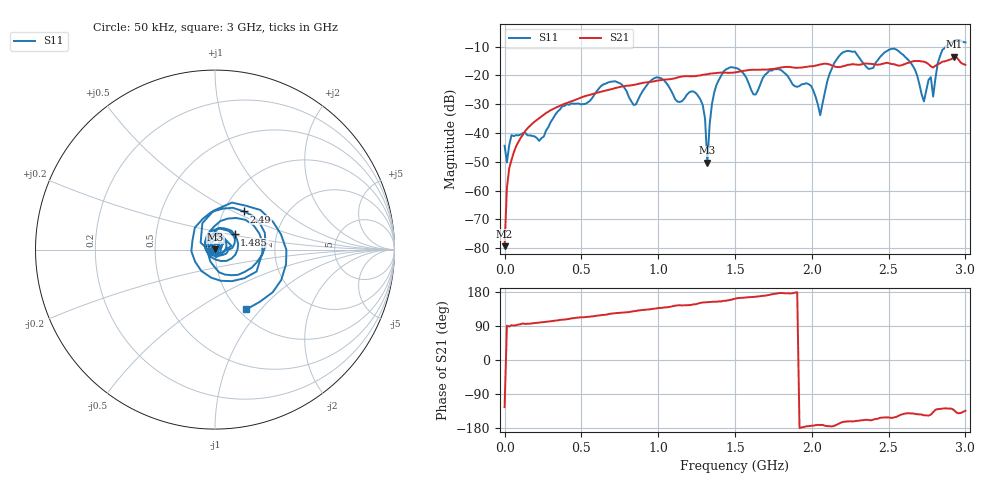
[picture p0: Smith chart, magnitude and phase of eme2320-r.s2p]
!File created by NanoVNA-F V2
# Hz S RI R 50
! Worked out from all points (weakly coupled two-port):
!   201 points, 50 kHz to 3 GHz, reference 50 ohm
!   highest |S21| = -13.50 dB at 2.925 GHz (marker M1); lowest = -79.3 dB at 50 kHz (marker M2)
!   lowest |S11| = -50.3 dB at 1.32 GHz (marker M3), VSWR 1.01, Z = 50.2 + j0.23 ohm
!   |S11| at or under -10 dB: start of sweep to 2.872 GHz
!   S12 and S22 are empty: the file has one direction only
!   S11 on the Smith chart (normalised r, x): 50 kHz: 0.99, -0.01; 1.485 GHz: 1.23, +0.21; 2.49 GHz: 1.24, +0.57; 3 GHz: 1.08, -0.84
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50000  -0.00449 -0.00398  -6.1e-05 -8.9e-05  0 0  0 0
1.504975e7  0.000794 0.00297  -1.1e-05 0.00112  0 0  0 0
7.504875e7  0.00849 0.00356  -0.000204 0.00589  0 0  0 0
5.100415e8  0.0178 -0.0263  -0.0163 0.0393  0 0  0 0
1.005033e9  0.0299 0.0866  -0.0604 0.0557  0 0  0 0
1.275029e9  0.0366 0.0106  -0.0876 0.0489  0 0  0 0
1.305028e9  0.0176 0.0025  -0.0918 0.0484  0 0  0 0
1.320028e9  0.002 0.00229  -0.0934 0.048  0 0  0 0
1.365027e9  -0.0258 0.0442  -0.0985 0.0483  0 0  0 0
1.485025e9  0.1098 0.0843  -0.1051 0.0378  0 0  0 0
1.500025e9  0.1209 0.061  -0.1074 0.0354  0 0  0 0
1.620023e9  -0.0228 -0.0411  -0.1223 0.0296  0 0  0 0
1.755021e9  0.0744 0.105  -0.1295 0.0128  0 0  0 0
2.010016e9  0.0463 -0.029  -0.1443 -0.0174  0 0  0 0
2.055016e9  -0.0128 -0.0159  -0.1535 -0.0226  0 0  0 0
2.190014e9  0.1696 0.1659  -0.1366 -0.0359  0 0  0 0
2.325011e9  0.0315 -0.1736  -0.1461 -0.0553  0 0  0 0
2.490008e9  0.1607 0.2127  -0.1462 -0.0797  0 0  0 0
2.505008e9  0.2114 0.1874  -0.143 -0.0765  0 0  0 0
2.730004e9  -0.031 0.0173  -0.1442 -0.0972  0 0  0 0
2.925001e9  0.398 -0.00233  -0.1413 -0.1571  0 0  0 0
3e9  0.1743 -0.3331  -0.1065 -0.1104  0 0  0 0
